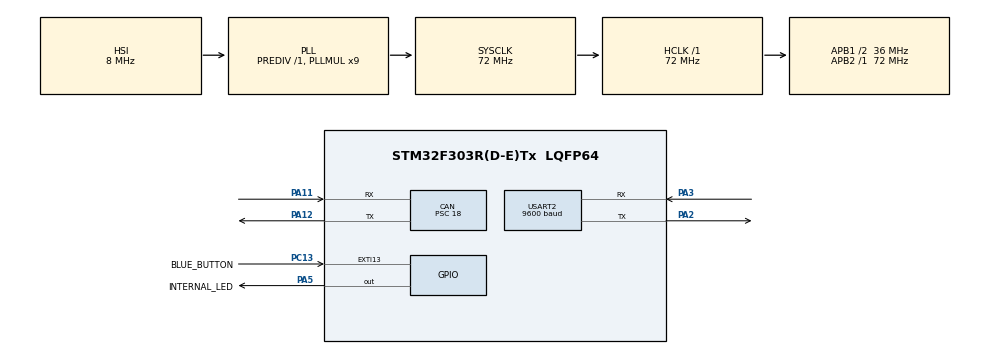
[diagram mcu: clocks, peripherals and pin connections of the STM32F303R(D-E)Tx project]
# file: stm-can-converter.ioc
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CAN.BS1=CAN_BS1_2TQ
CAN.CalculateBaudRate=500000
CAN.CalculateTimeBit=2000
CAN.CalculateTimeQuantum=500.0
CAN.Mode=CAN_MODE_NORMAL
CAN.Prescaler=18
CAN.SJW=CAN_SJW_2TQ
Dma.Request0=USART2_RX
Dma.USART2_RX.0.Direction=DMA_PERIPH_TO_MEMORY
Dma.USART2_RX.0.Instance=DMA1_Channel6
Dma.USART2_RX.0.MemDataAlignment=DMA_MDATAALIGN_BYTE
Dma.USART2_RX.0.MemInc=DMA_MINC_ENABLE
Dma.USART2_RX.0.Mode=DMA_CIRCULAR
Dma.USART2_RX.0.PeriphDataAlignment=DMA_PDATAALIGN_BYTE
Dma.USART2_RX.0.PeriphInc=DMA_PINC_DISABLE
Dma.USART2_RX.0.Priority=DMA_PRIORITY_LOW
Mcu.Family=STM32F3
Mcu.Name=STM32F303R(D-E)Tx
Mcu.Package=LQFP64
NVIC.CAN_RX1_IRQn=true\:0\:0\:false\:false\:true\:true\:true\:true
NVIC.CAN_SCE_IRQn=true\:0\:0\:false\:false\:true\:true\:true\:true
NVIC.DMA1_Channel6_IRQn=true\:0\:0\:false\:false\:true\:false\:true\:true
NVIC.EXTI15_10_IRQn=true\:0\:0\:false\:false\:true\:true\:true\:true
NVIC.PriorityGroup=NVIC_PRIORITYGROUP_4
NVIC.USART2_IRQn=true\:0\:0\:false\:false\:true\:true\:true\:true
NVIC.USB_LP_CAN_RX0_IRQn=true\:0\:0\:false\:false\:true\:true\:true\:true
PA11.Mode=CAN_Activate
PA11.Signal=CAN_RX
PA12.Mode=CAN_Activate
PA12.Signal=CAN_TX
PA13.Mode=Serial_Wire
PA13.Signal=SYS_JTMS-SWDIO
PA14.Mode=Serial_Wire
PA14.Signal=SYS_JTCK-SWCLK
PA2.Mode=Asynchronous
PA2.Signal=USART2_TX
PA3.Mode=Asynchronous
PA3.Signal=USART2_RX
PA5.GPIO_Label=INTERNAL_LED
PA5.Signal=GPIO_Output
PC13.GPIO_Label=BLUE_BUTTON
PC13.GPIO_ModeDefaultEXTI=GPIO_MODE_IT_FALLING
PC13.Signal=GPXTI13
ProjectManager.HeapSize=0x200
ProjectManager.StackSize=0x400
ProjectManager.TargetToolchain=STM32CubeIDE
RCC.AHBFreq_Value=72000000
RCC.APB1CLKDivider=RCC_HCLK_DIV2
RCC.APB1Freq_Value=36000000
RCC.APB1TimFreq_Value=72000000
RCC.APB2Freq_Value=72000000
RCC.APB2TimFreq_Value=72000000
RCC.CortexFreq_Value=72000000
RCC.HCLKFreq_Value=72000000
RCC.HSE_VALUE=8000000
RCC.HSI_VALUE=8000000
RCC.LSE_VALUE=32768
RCC.PLLMUL=RCC_PLL_MUL9
RCC.SYSCLKFreq_VALUE=72000000
RCC.SYSCLKSourceVirtual=RCC_SYSCLKSOURCE_PLLCLK
RCC.USBFreq_Value=72000000
USART2.BaudRate=9600
USART2.VirtualMode-Asynchronous=VM_ASYNC
board=custom

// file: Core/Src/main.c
/* USER CODE BEGIN Header */
/**
  ******************************************************************************
  * @file           : main.c
  * @brief          : Main program body
  ******************************************************************************
  * @attention
  *
  * Copyright (c) 2023 STMicroelectronics.
  * All rights reserved.
  *
  * This software is licensed under terms that can be found in the LICENSE file
  * in the root directory of this software component.
  * If no LICENSE file comes with this software, it is provided AS-IS.
  *
  ******************************************************************************
  */
/* USER CODE END Header */
#include "main.h"

/* USER CODE BEGIN Includes */
#include <string.h>
#include <stdio.h>
#include <stdlib.h>
/* USER CODE END Includes */

/* USER CODE BEGIN PD */

#define UART_RX_BUFFER 20u
#define MSG_BUFFER_SIZE 8u
#define HALF_MSG_BUFFER 4u
typedef enum{
    SPEED_125_KBITS,
    SPEED_250_KBITS,
    SPEED_500_KBITS,
    SPEED_1000_KBITS

}can_speed_t;

typedef enum{
    RESET_SYSTEM,
    SET_CAN_SPEED,
	ACTIVE_CAN_SPEED

}master_command_t;

/* USER CODE END PD */

CAN_HandleTypeDef hcan;

UART_HandleTypeDef huart2;
DMA_HandleTypeDef hdma_usart2_rx;

/* USER CODE BEGIN PV */

CAN_TxHeaderTypeDef TxHeader;
CAN_RxHeaderTypeDef RxHeader;
CAN_TxHeaderTypeDef Button_TxHeader;

uint32_t TxMailbox;

uint16_t uartToCanMsg_ID = 0;
uint8_t uartToCanMsg_DLC = 0;
uint8_t uartToCanMsg_Data[8] = {0};

uint16_t canToUartMsg_ID = 0;
uint8_t canToUartMsg_DLC = 0;
uint8_t canToUartMsg_Data[8] = {0};

uint8_t TxData[8];
uint8_t RxData[8];
uint8_t uartMessageState = 0u;
uint8_t led_state = 0;
uint8_t can_status = 0;
uint8_t uart_status = 0;
uint8_t button_msg[8] = {0};

uint8_t UartRxBuffer[UART_RX_BUFFER] = {0};
uint8_t ReceiveBuf[UART_RX_BUFFER];
uint8_t OperationalBuf[UART_RX_BUFFER];
uint8_t canSpeedOnStartup __attribute__ ((section (".no_init")));;

/* USER CODE END PV */

void SystemClock_Config(void);
static void MX_GPIO_Init(void);
static void MX_DMA_Init(void);
static void MX_CAN_Init(void);
static void MX_USART2_UART_Init(void);

/* USER CODE BEGIN 0 */

int __io_putchar(int ch)
{
    HAL_UART_Transmit(&huart2, (uint8_t*)&ch, 1, HAL_MAX_DELAY);
    return 1;
}

void vPrint_message(){
	printf("%04x ", canToUartMsg_ID);
	printf("%02x ", canToUartMsg_DLC);
	for(uint8_t i = 0u; i < sizeof(canToUartMsg_Data); i++)
		{
			printf("%02x ", canToUartMsg_Data[i]);
		} printf("\n\r");
	}

void vConvertToCan(uint16_t *size){
	uint8_t buildID[HALF_MSG_BUFFER] = {0u};
	for(uint8_t j=0u; j < HALF_MSG_BUFFER; j++){
		buildID[j] = OperationalBuf[j];
	} sscanf(buildID, "%04x", &uartToCanMsg_ID);
	for(uint8_t i=0u; i < ((uint)size-6)/4; i++){
			if(i == 0){
				uint8_t buildDLC[2] = {0u};
				for(uint8_t j=0u; j < 2u; j++){
					buildDLC[j] = OperationalBuf[j+5u];
					}
				sscanf(buildDLC, "%02x", &uartToCanMsg_DLC);
			} else if(i >= 1){

				for(uint8_t j=0u; j < uartToCanMsg_DLC; j++){
					uint8_t buildByte[2] = {0u};
					for(uint8_t c=0u; c < 2u; c++){
						buildByte[j+c] = OperationalBuf[c+8u];
					} sscanf(buildByte, "%02x", &uartToCanMsg_Data[j]);
					}
				break;
			}
	}

	TxHeader.DLC = uartToCanMsg_DLC;
	TxHeader.ExtId = 0u;
	TxHeader.IDE = CAN_ID_STD;
	TxHeader.RTR = CAN_RTR_DATA;
	TxHeader.StdId = uartToCanMsg_ID;
	TxHeader.TransmitGlobalTime = DISABLE;
	memset(OperationalBuf, 0u, UART_RX_BUFFER);
	can_status += HAL_CAN_AddTxMessage(&hcan, &TxHeader, uartToCanMsg_Data, &TxMailbox);

}

void resetUartDmaRxBuffer(UART_HandleTypeDef  *huart, uint16_t Size) {
    __HAL_DMA_DISABLE(huart->hdmarx);
    huart->hdmarx->Instance->CNDTR = Size; // reset counter
    __HAL_DMA_ENABLE(huart->hdmarx);
}

void vMasterCommand(uint8_t cmd, uint8_t value){

    switch (cmd) {
        case RESET_SYSTEM:
            NVIC_SystemReset();
            break;
        case SET_CAN_SPEED:
            if(value >= 0u && value <= 3u){
            	canSpeedOnStartup = value;
            }
            break;
        case ACTIVE_CAN_SPEED:
			value = canSpeedOnStartup;
			break;
        default:
            break;
    }

    canToUartMsg_ID = cmd;
    canToUartMsg_DLC = 0x01;
    canToUartMsg_Data[0] = value;
    vPrint_message();
}

void HAL_UARTEx_RxEventCallback(UART_HandleTypeDef *huart, uint16_t Size){

	static uint8_t callbackHandler = 0;

	/*
	static uint8_t messageReceived = 0;

	if(huart->Instance == USART2){

		if(strstr((const char *)UartRxBuffer, (const char *)'\n')){

			if(strlen((const char *)UartRxBuffer) > 10){
					memcpy(OperationalBuf, UartRxBuffer, UART_RX_BUFFER);
					memset(UartRxBuffer, 0, UART_RX_BUFFER);
					vConvertToCan(&Size);
					messageReceived = 1;

				} else if(strlen((const char *)UartRxBuffer) >= 4 && strstr((const char *)UartRxBuffer, (const char *)'F')){
					memcpy(OperationalBuf, UartRxBuffer, UART_RX_BUFFER);
					memset(UartRxBuffer, 0, UART_RX_BUFFER);
					uint8_t master_counter = 0;
					for(uint8_t i = 0u; i < HALF_MSG_BUFFER; i++){
						if(OperationalBuf[i] == 'F'){
							master_counter++;
						}
					}
					if(master_counter == 2){
						vMasterCommand(OperationalBuf[2] - '0', OperationalBuf[3]-'0');
						messageReceived = 1;

					}

					}

				} else{
					callbackHandler++;

				}

		} else{

		callbackHandler++;
		}

		if(messageReceived){
			callbackHandler = 0;
			resetUartDmaRxBuffer(&huart2, UART_RX_BUFFER);
			HAL_UARTEx_ReceiveToIdle_DMA(&huart2, UartRxBuffer, UART_RX_BUFFER);
			__HAL_DMA_DISABLE_IT(&hdma_usart2_rx, DMA_IT_HT);
			messageReceived = 0;

		}

		if(callbackHandler > UART_RX_BUFFER -1){
			memset(UartRxBuffer, 0, UART_RX_BUFFER);
			resetUartDmaRxBuffer(&huart2, UART_RX_BUFFER);
			HAL_UARTEx_ReceiveToIdle_DMA(&huart2, UartRxBuffer, UART_RX_BUFFER);
			__HAL_DMA_DISABLE_IT(&hdma_usart2_rx, DMA_IT_HT);
		}

*/

	if(huart->Instance == USART2 && strlen(UartRxBuffer) > 10u && strstr(UartRxBuffer, "\n\0")){
		callbackHandler = 0u;
		memcpy(OperationalBuf, UartRxBuffer, UART_RX_BUFFER);
		memset(UartRxBuffer, 0u, UART_RX_BUFFER);
		vConvertToCan(&Size);

		memset(OperationalBuf, 0u, UART_RX_BUFFER);
		resetUartDmaRxBuffer(&huart2, UART_RX_BUFFER);
		HAL_UARTEx_ReceiveToIdle_DMA(&huart2, UartRxBuffer, UART_RX_BUFFER);
		__HAL_DMA_DISABLE_IT(&hdma_usart2_rx, DMA_IT_HT);

	} else if(huart->Instance == USART2 && strlen(UartRxBuffer) >= 4 && strstr(UartRxBuffer, "\n\0") && strstr(UartRxBuffer, "F\0")){
		callbackHandler = 0u;
		memcpy(OperationalBuf, UartRxBuffer, UART_RX_BUFFER);
		memset(UartRxBuffer, 0u, UART_RX_BUFFER);
		if(strlen(OperationalBuf) >= 10u){
			vConvertToCan(&Size);
		} else {
			vMasterCommand(OperationalBuf[2u] - '0', OperationalBuf[3u]-'0');

		}
		memset(OperationalBuf, 0u, UART_RX_BUFFER);
		resetUartDmaRxBuffer(&huart2, UART_RX_BUFFER);
		HAL_UARTEx_ReceiveToIdle_DMA(&huart2, UartRxBuffer, UART_RX_BUFFER);
		__HAL_DMA_DISABLE_IT(&hdma_usart2_rx, DMA_IT_HT);

	}

	else {
		callbackHandler++;
	}

	if(callbackHandler > UART_RX_BUFFER-1u){
		memset(OperationalBuf, 0u, UART_RX_BUFFER);
		memset(UartRxBuffer, 0u, UART_RX_BUFFER);
		resetUartDmaRxBuffer(&huart2, UART_RX_BUFFER);
		HAL_UARTEx_ReceiveToIdle_DMA(&huart2, UartRxBuffer, UART_RX_BUFFER);
		__HAL_DMA_DISABLE_IT(&hdma_usart2_rx, DMA_IT_HT);
	}

}

void HAL_CAN_RxFifo0MsgPendingCallback(CAN_HandleTypeDef *hcan)
{
	can_status += HAL_CAN_GetRxMessage(hcan, CAN_RX_FIFO0, &RxHeader, RxData);
	if(can_status == 0u){

		canToUartMsg_ID = RxHeader.StdId;
		canToUartMsg_DLC= RxHeader.DLC;

		if (canToUartMsg_DLC != 0u) {
			for(uint8_t i=0u; i < sizeof(canToUartMsg_Data); i++){
				canToUartMsg_Data[i] = RxData[i];
			}
		} else{
			memset(canToUartMsg_Data, 0, 8);
		}
		vPrint_message();

	}
}

void vCan_messages_init(){

	Button_TxHeader.DLC = 0x01;
	Button_TxHeader.ExtId = 0u;
	Button_TxHeader.IDE = CAN_ID_STD;
	Button_TxHeader.RTR = CAN_RTR_DATA;
	Button_TxHeader.StdId = 0x350;
	Button_TxHeader.TransmitGlobalTime = DISABLE;

	TxHeader.DLC = 0x00;
	TxHeader.ExtId = 0u;
	TxHeader.IDE = CAN_ID_STD;
	TxHeader.RTR = CAN_RTR_DATA;
	TxHeader.StdId = 0x500;
	TxHeader.TransmitGlobalTime = DISABLE;

}
void vButton_message(){
	button_msg[0] = led_state;
	can_status += HAL_CAN_AddTxMessage(&hcan, &Button_TxHeader, button_msg, &TxMailbox);

}

void HAL_GPIO_EXTI_Callback(uint16_t GPIO_Pin){
	if(GPIO_Pin == BLUE_BUTTON_Pin){
		led_state = !led_state;
		vButton_message();
	}

}

void setCanSpeed(can_speed_t canSpeed){

    hcan.Instance = CAN;
    switch(canSpeed){

    case SPEED_125_KBITS:
        hcan.Init.Prescaler = 72u;
        break;

    case SPEED_250_KBITS:
        hcan.Init.Prescaler = 36u;
        break;

    case SPEED_500_KBITS:
        hcan.Init.Prescaler = 18u;
        break;

    case SPEED_1000_KBITS:
        hcan.Init.Prescaler = 9u;
        break;

    default:
        hcan.Init.Prescaler = 18u;
        canSpeedOnStartup = 2u;
        break;

    }

    hcan.Init.Mode = CAN_MODE_NORMAL;
    hcan.Init.SyncJumpWidth = CAN_SJW_1TQ;
    hcan.Init.TimeSeg1 = CAN_BS1_2TQ;
    hcan.Init.TimeSeg2 = CAN_BS2_1TQ;
    hcan.Init.TimeTriggeredMode = DISABLE;
    hcan.Init.AutoBusOff = DISABLE;
    hcan.Init.AutoWakeUp = DISABLE;
    hcan.Init.AutoRetransmission = DISABLE;
    hcan.Init.ReceiveFifoLocked = DISABLE;
    hcan.Init.TransmitFifoPriority = DISABLE;
    if (HAL_CAN_Init(&hcan) != HAL_OK)
    {
        Error_Handler();
    }
}

void vLedStartup(){
	for (uint8_t i = 0u; i < 5u; i++) {
		HAL_GPIO_TogglePin(INTERNAL_LED_GPIO_Port, INTERNAL_LED_Pin);
		HAL_Delay(50);
	}
	HAL_GPIO_WritePin(INTERNAL_LED_GPIO_Port, INTERNAL_LED_Pin, GPIO_PIN_RESET);

}

/* USER CODE END 0 */

int main(void)
{

  /* MCU Configuration--------------------------------------------------------*/

  /* Reset of all peripherals, Initializes the Flash interface and the Systick. */
  HAL_Init();

  /* Configure the system clock */
  SystemClock_Config();

  /* Initialize all configured peripherals */
  MX_GPIO_Init();
  MX_DMA_Init();
  MX_CAN_Init();
  MX_USART2_UART_Init();
  /* USER CODE BEGIN 2 */

	vLedStartup();
	can_status += HAL_CAN_Start(&hcan);
	can_status += HAL_CAN_ActivateNotification(&hcan, CAN_IT_RX_FIFO0_MSG_PENDING);
	vCan_messages_init();
	HAL_UARTEx_ReceiveToIdle_DMA(&huart2, UartRxBuffer, UART_RX_BUFFER);
	__HAL_DMA_DISABLE_IT(&hdma_usart2_rx, DMA_IT_HT);

  /* USER CODE END 2 */

  /* Infinite loop */
  /* USER CODE BEGIN WHILE */
  while (1)
  {
	  //HAL_CAN_AddTxMessage(&hcan, &TxHeader, TxData, &TxMailbox);

    /* USER CODE END WHILE */

  }
}

void SystemClock_Config(void)
{
  RCC_OscInitTypeDef RCC_OscInitStruct = {0};
  RCC_ClkInitTypeDef RCC_ClkInitStruct = {0};
  RCC_PeriphCLKInitTypeDef PeriphClkInit = {0};

  /** Initializes the RCC Oscillators according to the specified parameters
  * in the RCC_OscInitTypeDef structure.
  */
  RCC_OscInitStruct.OscillatorType = RCC_OSCILLATORTYPE_HSI;
  RCC_OscInitStruct.HSIState = RCC_HSI_ON;
  RCC_OscInitStruct.HSICalibrationValue = RCC_HSICALIBRATION_DEFAULT;
  RCC_OscInitStruct.PLL.PLLState = RCC_PLL_ON;
  RCC_OscInitStruct.PLL.PLLSource = RCC_PLLSOURCE_HSI;
  RCC_OscInitStruct.PLL.PLLMUL = RCC_PLL_MUL9;
  RCC_OscInitStruct.PLL.PREDIV = RCC_PREDIV_DIV1;
  if (HAL_RCC_OscConfig(&RCC_OscInitStruct) != HAL_OK)
  {
    Error_Handler();
  }

  /** Initializes the CPU, AHB and APB buses clocks
  */
  RCC_ClkInitStruct.ClockType = RCC_CLOCKTYPE_HCLK|RCC_CLOCKTYPE_SYSCLK
                              |RCC_CLOCKTYPE_PCLK1|RCC_CLOCKTYPE_PCLK2;
  RCC_ClkInitStruct.SYSCLKSource = RCC_SYSCLKSOURCE_PLLCLK;
  RCC_ClkInitStruct.AHBCLKDivider = RCC_SYSCLK_DIV1;
  RCC_ClkInitStruct.APB1CLKDivider = RCC_HCLK_DIV2;
  RCC_ClkInitStruct.APB2CLKDivider = RCC_HCLK_DIV1;

  if (HAL_RCC_ClockConfig(&RCC_ClkInitStruct, FLASH_LATENCY_2) != HAL_OK)
  {
    Error_Handler();
  }
  PeriphClkInit.PeriphClockSelection = RCC_PERIPHCLK_USART2;
  PeriphClkInit.Usart2ClockSelection = RCC_USART2CLKSOURCE_PCLK1;
  if (HAL_RCCEx_PeriphCLKConfig(&PeriphClkInit) != HAL_OK)
  {
    Error_Handler();
  }
}

static void MX_CAN_Init(void)
{

  /* USER CODE BEGIN CAN_Init 0 */
	setCanSpeed(canSpeedOnStartup);

  /* USER CODE END CAN_Init 0 */

	/*
  hcan.Instance = CAN;
  hcan.Init.Prescaler = 18;
  hcan.Init.Mode = CAN_MODE_NORMAL;
  hcan.Init.SyncJumpWidth = CAN_SJW_2TQ;
  hcan.Init.TimeSeg1 = CAN_BS1_2TQ;
  hcan.Init.TimeSeg2 = CAN_BS2_1TQ;
  hcan.Init.TimeTriggeredMode = DISABLE;
  hcan.Init.AutoBusOff = DISABLE;
  hcan.Init.AutoWakeUp = DISABLE;
  hcan.Init.AutoRetransmission = DISABLE;
  hcan.Init.ReceiveFifoLocked = DISABLE;
  hcan.Init.TransmitFifoPriority = DISABLE;
  if (HAL_CAN_Init(&hcan) != HAL_OK)
  {
    Error_Handler();
  }
  */
  /* USER CODE BEGIN CAN_Init 2 */

  CAN_FilterTypeDef can_filter_config;

  can_filter_config.FilterActivation = CAN_FILTER_ENABLE;
  can_filter_config.FilterBank = 10;
  can_filter_config.FilterFIFOAssignment = CAN_RX_FIFO0;
  can_filter_config.FilterIdHigh = 0;
  can_filter_config.FilterIdLow = 0x0000;
  can_filter_config.FilterMaskIdHigh = 0;			// decides which bits in id should be compared
  can_filter_config.FilterMaskIdLow = 0x0000;
  can_filter_config.FilterMode = CAN_FILTERMODE_IDMASK;
  can_filter_config.FilterScale = CAN_FILTERSCALE_32BIT;
  can_filter_config.SlaveStartFilterBank = 0;

  HAL_CAN_ConfigFilter(&hcan, &can_filter_config);

  /* USER CODE END CAN_Init 2 */

}

static void MX_USART2_UART_Init(void)
{

  huart2.Instance = USART2;
  huart2.Init.BaudRate = 115200;
  huart2.Init.WordLength = UART_WORDLENGTH_8B;
  huart2.Init.StopBits = UART_STOPBITS_1;
  huart2.Init.Parity = UART_PARITY_NONE;
  huart2.Init.Mode = UART_MODE_TX_RX;
  huart2.Init.HwFlowCtl = UART_HWCONTROL_NONE;
  huart2.Init.OverSampling = UART_OVERSAMPLING_16;
  huart2.Init.OneBitSampling = UART_ONE_BIT_SAMPLE_DISABLE;
  huart2.AdvancedInit.AdvFeatureInit = UART_ADVFEATURE_NO_INIT;
  if (HAL_UART_Init(&huart2) != HAL_OK)
  {
    Error_Handler();
  }

}

static void MX_DMA_Init(void)
{

  /* DMA controller clock enable */
  __HAL_RCC_DMA1_CLK_ENABLE();

  /* DMA interrupt init */
  /* DMA1_Channel6_IRQn interrupt configuration */
  HAL_NVIC_SetPriority(DMA1_Channel6_IRQn, 0, 0);
  HAL_NVIC_EnableIRQ(DMA1_Channel6_IRQn);

}

static void MX_GPIO_Init(void)
{
  GPIO_InitTypeDef GPIO_InitStruct = {0};

  /* GPIO Ports Clock Enable */
  __HAL_RCC_GPIOC_CLK_ENABLE();
  __HAL_RCC_GPIOA_CLK_ENABLE();

  /*Configure GPIO pin Output Level */
  HAL_GPIO_WritePin(INTERNAL_LED_GPIO_Port, INTERNAL_LED_Pin, GPIO_PIN_RESET);

  /*Configure GPIO pin : BLUE_BUTTON_Pin */
  GPIO_InitStruct.Pin = BLUE_BUTTON_Pin;
  GPIO_InitStruct.Mode = GPIO_MODE_IT_FALLING;
  GPIO_InitStruct.Pull = GPIO_NOPULL;
  HAL_GPIO_Init(BLUE_BUTTON_GPIO_Port, &GPIO_InitStruct);

  /*Configure GPIO pin : INTERNAL_LED_Pin */
  GPIO_InitStruct.Pin = INTERNAL_LED_Pin;
  GPIO_InitStruct.Mode = GPIO_MODE_OUTPUT_PP;
  GPIO_InitStruct.Pull = GPIO_NOPULL;
  GPIO_InitStruct.Speed = GPIO_SPEED_FREQ_LOW;
  HAL_GPIO_Init(INTERNAL_LED_GPIO_Port, &GPIO_InitStruct);

  /* EXTI interrupt init*/
  HAL_NVIC_SetPriority(EXTI15_10_IRQn, 0, 0);
  HAL_NVIC_EnableIRQ(EXTI15_10_IRQn);

}

void Error_Handler(void)
{
  __disable_irq();
  while (1)
  {
  }
}
